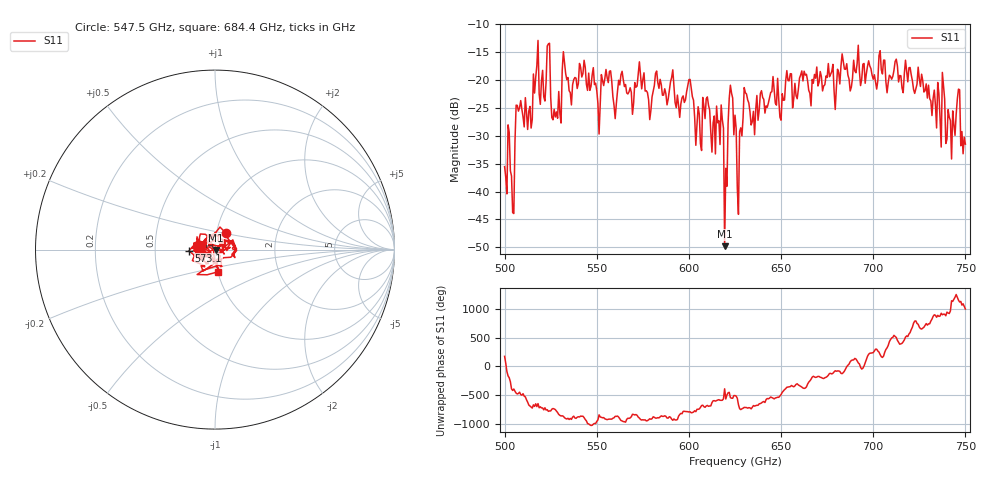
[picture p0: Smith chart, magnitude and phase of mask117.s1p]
!Created with skrf (http://scikit-rf.org).
# GHz S MA R 50.0
!freq magS11 angS11
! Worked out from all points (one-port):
!   401 points, 500 GHz to 750 GHz, reference 50 ohm
!   lowest |S11| = -49.8 dB at 619.4 GHz (marker M1), VSWR 1.01, Z = 50.3 - j0.159 ohm
!   |S11| at or under -10 dB: start of sweep to end of sweep
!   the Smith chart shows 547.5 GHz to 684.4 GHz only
!   S11 on the Smith chart (normalised r, x): 547.5 GHz: 1.10, +0.21; 573.1 GHz: 0.75, -0.01; 684.4 GHz: 1.00, -0.25
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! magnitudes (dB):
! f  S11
! 500 GHz  -35.5
! 504.4 GHz  -43.8
! 507.5 GHz  -25.6
! 513.8 GHz  -24.8
! 516.9 GHz  -19.6
! 520.6 GHz  -18.3
! 523.8 GHz  -13.6
! 526.9 GHz  -25.3
! 531.2 GHz  -18.3
! 547.5 GHz  -19.1
! 562.5 GHz  -20.9
! 573.1 GHz  -16.8
! 593.8 GHz  -22.7
! 600 GHz  -20.0
! 616.2 GHz  -27.3
! 619.4 GHz  -49.8
! 622.5 GHz  -21.0
! 625 GHz  -26.3
! 627.5 GHz  -29.3
! 631.2 GHz  -22.5
! 634.4 GHz  -27.5
! 656.2 GHz  -25.0
! 684.4 GHz  -18.1
! 687.5 GHz  -22.0
! 718.8 GHz  -20.4
! 741.2 GHz  -26.7
! 745.6 GHz  -23.4
! 750 GHz  -31.5
